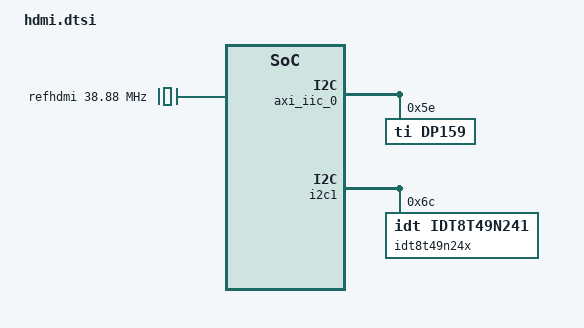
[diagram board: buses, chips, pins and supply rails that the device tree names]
#include <dt-bindings/media/xilinx-vip.h>

&axi_iic_0 {
    /* DP159 exposes a virtual CCF clock. Upon .set_rate(), it adapts its retiming/driving behaviour */
    dp159: hdmi-retimer@5e {
            status = "okay";
            compatible = "ti,dp159";
            reg = <0x5e>;
            #address-cells = <1>;
            #size-cells = <0>;
            #clock-cells = <0>;
    };
};

/* HDMI TX */
&xx_mix_masterhdmi_tx_v_mix_0 {
    /delete-property/ xlnx,layer-primary;
    xlnx,vformat = "BG24";
};
&xx_mix_overlay_1hdmi_tx_v_mix_0 {
    xlnx,layer-max-width = <3840>;
};
&xx_mix_overlay_2hdmi_tx_v_mix_0 {
    xlnx,layer-max-width = <3840>;
};
&xx_mix_overlay_3hdmi_tx_v_mix_0 {
    xlnx,layer-max-width = <3840>;
};
&xx_mix_overlay_4hdmi_tx_v_mix_0 {
    xlnx,layer-max-width = <3840>;
};
&xx_mix_overlay_5hdmi_tx_v_mix_0 {
    xlnx,layer-max-width = <3840>;
};
&xx_mix_overlay_6hdmi_tx_v_mix_0 {
    xlnx,layer-max-width = <3840>;
};
&xx_mix_overlay_7hdmi_tx_v_mix_0 {
    xlnx,layer-max-width = <3840>;
};
&xx_mix_overlay_8hdmi_tx_v_mix_0 {
    xlnx,layer-max-width = <3840>;
};
&xx_mix_overlay_9hdmi_tx_v_mix_0 {
    xlnx,layer-max-width = <3840>;
    xlnx,layer-primary;
};


&hdmi_tx_v_hdmi_tx_ss_0 {
    clock-names = "s_axi_cpu_aclk", "link_clk", "s_axis_audio_aclk", "video_clk", "s_axis_video_aclk", "txref-clk", "retimer-clk";
    clocks = <&zynqmp_clk 71>, <&misc_clk_1>, <&zynqmp_clk 71>, <&misc_clk_2>, <&misc_clk_0>, <&idt8t49n24x 3>, <&dp159>;
};

/* HDMI RX */
&hdmi_rx_v_proc_ss_0 {
    compatible = "xlnx,v-vpss-scaler-2.2";
};

&scaler_port0hdmi_rx_v_proc_ss_0 {
    xlnx,video-format = <XVIP_VF_RBG>;
    xlnx,video-width = <8>;
};
&scaler_port1hdmi_rx_v_proc_ss_0 {
    xlnx,video-format = <XVIP_VF_YUV_422>;
    xlnx,video-width = <8>;
};

&hdmirx_porthdmi_rx_v_hdmi_rx_ss_0 {
    xlnx,video-format = <XVIP_VF_RBG>;
    xlnx,video-width = <8>;
};

&i2c1 {
    i2cswitch@70 {
        i2c@0 {
            /* idt8t49n241 i2c clock generator */
            idt8t49n24x: clock-generator@6c {
                status = "okay";
                compatible = "idt,idt8t49n241";
                #clock-cells = <1>;
                reg = <0x6c>;

                /* input clock(s); the XTAL is hard-wired on the ZCU104 board */
                clocks = <&refhdmi>;
                clock-names = "input-xtal";
            };
        };
    };
};

/ {
    hdmi_tx_clk: amba_pl@0 {

        /* 38.880MHz reference crystal for 8t49n241 clock for HDMI */
        /* IIC controller with 8t49n24x clock generator and DP159 retimer for HDMI TX */
        refhdmi: refhdmi {
                compatible = "fixed-clock";
                #clock-cells = <0>;
                clock-frequency = <38880000>;
        };
    };
};
